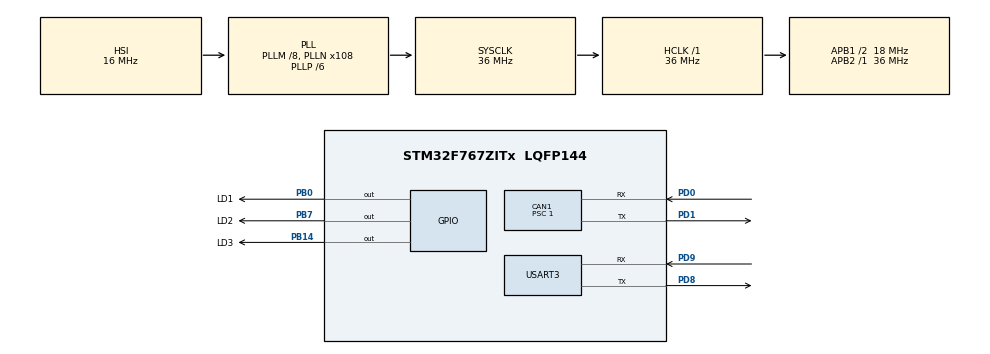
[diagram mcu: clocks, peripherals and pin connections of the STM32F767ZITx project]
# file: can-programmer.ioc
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CAN1.BS1=CAN_BS1_15TQ
CAN1.BS2=CAN_BS2_2TQ
CAN1.CalculateBaudRate=1000000
CAN1.CalculateTimeBit=999.99
CAN1.CalculateTimeQuantum=55.55555555555556
CAN1.Mode=CAN_MODE_NORMAL
CAN1.NART=DISABLE
CAN1.Prescaler=1
Mcu.Family=STM32F7
Mcu.Name=STM32F767ZITx
Mcu.Package=LQFP144
NVIC.CAN1_RX0_IRQn=true\:0\:0\:false\:false\:true\:true\:true
NVIC.CAN1_RX1_IRQn=true\:0\:0\:false\:false\:true\:true\:true
NVIC.CAN1_SCE_IRQn=true\:0\:0\:false\:false\:true\:true\:true
NVIC.CAN1_TX_IRQn=true\:0\:0\:false\:false\:true\:true\:true
NVIC.PriorityGroup=NVIC_PRIORITYGROUP_4
NVIC.TIM6_DAC_IRQn=true\:0\:0\:false\:false\:true\:true\:true
PB0.GPIO_Label=LD1
PB0.Signal=GPIO_Output
PB14.GPIO_Label=LD3
PB14.Signal=GPIO_Output
PB7.GPIO_Label=LD2
PB7.Signal=GPIO_Output
PD0.Mode=CAN_Activate
PD0.Signal=CAN1_RX
PD1.Mode=CAN_Activate
PD1.Signal=CAN1_TX
PD8.Mode=Asynchronous
PD8.Signal=USART3_TX
PD9.Mode=Asynchronous
PD9.Signal=USART3_RX
ProjectManager.HeapSize=0x200
ProjectManager.StackSize=0x400
ProjectManager.TargetToolchain=Makefile
RCC.AHBFreq_Value=36000000
RCC.APB1CLKDivider=RCC_HCLK_DIV2
RCC.APB1Freq_Value=18000000
RCC.APB1TimFreq_Value=36000000
RCC.APB2Freq_Value=36000000
RCC.APB2TimFreq_Value=36000000
RCC.CortexFreq_Value=36000000
RCC.HCLKFreq_Value=36000000
RCC.HSE_VALUE=25000000
RCC.HSI_VALUE=16000000
RCC.LSE_VALUE=32768
RCC.PLLM=8
RCC.PLLN=108
RCC.PLLP=RCC_PLLP_DIV6
RCC.SYSCLKFreq_VALUE=36000000
RCC.SYSCLKSource=RCC_SYSCLKSOURCE_PLLCLK
RCC.UART4CLockSelection=RCC_UART4CLKSOURCE_HSI
RCC.USBFreq_Value=108000000
RCC.VCOOutputFreq_Value=216000000
TIM6.Period=1000
TIM6.Prescaler=36000
USART3.VirtualMode-Asynchronous=VM_ASYNC
VP_TIM6_VS_ClockSourceINT.Mode=Enable_Timer
board=custom

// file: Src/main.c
/* USER CODE BEGIN Header */
/**
  ******************************************************************************
  * @file           : main.c
  * @brief          : Main program body
  ******************************************************************************
  * @attention
  *
  * <h2><center>&copy; Copyright (c) 2021 STMicroelectronics.
  * All rights reserved.</center></h2>
  *
  * This software component is licensed by ST under BSD 3-Clause license,
  * the "License"; You may not use this file except in compliance with the
  * License. You may obtain a copy of the License at:
  *                        opensource.org/licenses/BSD-3-Clause
  *
  ******************************************************************************
  */
/* USER CODE END Header */
#include "main.h"
#include "can.h"
#include "tim.h"
#include "usart.h"
#include "gpio.h"

/* USER CODE BEGIN Includes */
#include "string.h"
#include "stdio.h"
#include "time.h"
/* USER CODE END Includes */

/* USER CODE BEGIN PV */

uint8_t can_msg_data[8];

/* CAN programming parameters */
const uint16_t PROG_MSG_ID = 0x101;
const uint32_t PROG_FREQ_HZ = 1;
const uint32_t PROG_TIME_SEC = 10;
const uint8_t PROG_CONSTANT_MSB = 0x75;
const uint8_t PROG_CONSTANT_LSB = 0x30;
const uint8_t NEW_BASE_ID_MSB = 0x01;
const uint8_t NEW_BASE_ID_LSB = 0x01;

/* Constants for IMU programming */
const uint8_t IMU_GYRO_245DPS = 1;
const uint8_t IMU_GYRO_500DPS = 2;
const uint8_t IMU_GYRO_2000DPS = 3;

const uint8_t IMU_ACCEL_2G = 1;
const uint8_t IMU_ACCEL_4G = 2;
const uint8_t IMU_ACCEL_8G = 3;
const uint8_t IMU_ACCEL_16G = 4;

const uint8_t IMU_FREQ_10HZ = 1;
const uint8_t IMU_FREQ_50HZ = 2;
const uint8_t IMU_FREQ_120HZ = 3;
const uint8_t IMU_FREQ_240HZ = 4;
const uint8_t IMU_FREQ_480HZ = 5;

const uint8_t IMU_BITRATE_1MBPS = 1;
const uint8_t IMU_BITRATE_500KBPS = 2;
const uint8_t IMU_BITRATE_250KBPS = 3;
const uint8_t IMU_BITRATE_100KBPS = 4;

/* Constants for IMU programming */
const uint8_t IRTS_EMISSIVITY = 30; /* 1..100 = 0.01..1.00 */

const uint8_t IRTS_FREQ_1HZ = 1;
const uint8_t IRTS_FREQ_2HZ = 2;
const uint8_t IRTS_FREQ_4HZ = 3;
const uint8_t IRTS_FREQ_8HZ = 4;
const uint8_t IRTS_FREQ_16HZ = 5;
const uint8_t IRTS_FREQ_32HZ = 6;
const uint8_t IRTS_FREQ_64HZ = 7;
const uint8_t IRTS_FREQ_100HZ = 8;

const uint8_t IRTS_CHANNELS_4 = 40;
const uint8_t IRTS_CHANNELS_8 = 80;
const uint8_t IRTS_CHANNELS_16 = 160;

const uint8_t IRTS_LAST_BYTE = 0x00;

/* Define the programming message here */
uint8_t can_msg_data[8] = {
  PROG_CONSTANT_MSB,
  PROG_CONSTANT_LSB,
  NEW_BASE_ID_MSB,
  NEW_BASE_ID_LSB,

  IRTS_EMISSIVITY,
  IRTS_FREQ_2HZ,
  IRTS_CHANNELS_4,
  IRTS_LAST_BYTE
};

/* USER CODE END PV */

void SystemClock_Config(void);

/* USER CODE BEGIN 0 */

void serial_print(char * txt) {
    char buf[80] = "[MAIN] ";
    strncat(buf, txt, 80-strlen(buf)-1);
    HAL_UART_Transmit(&huart3, (uint8_t *)buf, strlen(buf), 500);
}

/* USER CODE END 0 */

int main(void)
{

  /* MCU Configuration--------------------------------------------------------*/

  /* Reset of all peripherals, Initializes the Flash interface and the Systick. */
  HAL_Init();

  /* Configure the system clock */
  SystemClock_Config();

  /* Initialize all configured peripherals */
  MX_GPIO_Init();
  MX_CAN1_Init();
  MX_USART3_UART_Init();
  MX_TIM6_Init();

  /* Infinite loop */
  /* USER CODE BEGIN WHILE */

  serial_print("Initialized\r\n");

  if (PROG_FREQ_HZ != 1) {
    serial_print("Programming is only supported at 1Hz frequency as of now.\r\n");
    return -1;
  }

  /* Print the packet contents to serial console */
  serial_print("CAN packet:\r\n");
  for (int i = 0; i < 8; i++) {
    char line[80];
    snprintf(line, 79, "  Byte %d: HEX 0x%02x (DEC %03d)\r\n", i+1, can_msg_data[i], can_msg_data[i]);
    serial_print(line);
  }

  /* Start the timer */
  HAL_TIM_Base_Start_IT(&htim6);

  while (1)
  {
    HAL_GPIO_TogglePin(LD1_GPIO_Port, LD1_Pin);
    HAL_Delay(100);

    /* USER CODE END WHILE */

  }
}

/* Timer callback at 1Hz */
void HAL_TIM_PeriodElapsedCallback(TIM_HandleTypeDef *htim)
{
  static uint32_t elapsed_seconds = 0;

  if (elapsed_seconds < PROG_TIME_SEC) {
    HAL_GPIO_WritePin(LD3_GPIO_Port, LD3_Pin, SET);
    can_send(PROG_MSG_ID, can_msg_data);
    elapsed_seconds++;
    HAL_GPIO_WritePin(LD3_GPIO_Port, LD3_Pin, RESET);

    char msg[80];
    snprintf(msg, 79, "Programming: %ld%%\r\n", elapsed_seconds*100/PROG_TIME_SEC);
    serial_print(msg);
  }

  if (elapsed_seconds == PROG_TIME_SEC) {
    serial_print("Programming compelte. You may now unplug the\r\n");
    serial_print("sensor and reset it (disconnect power for >5 seconds).\r\n");
    elapsed_seconds++;
  }
}

void SystemClock_Config(void)
{
  RCC_OscInitTypeDef RCC_OscInitStruct = {0};
  RCC_ClkInitTypeDef RCC_ClkInitStruct = {0};
  RCC_PeriphCLKInitTypeDef PeriphClkInitStruct = {0};

  /** Configure the main internal regulator output voltage
  */
  __HAL_RCC_PWR_CLK_ENABLE();
  __HAL_PWR_VOLTAGESCALING_CONFIG(PWR_REGULATOR_VOLTAGE_SCALE3);
  /** Initializes the RCC Oscillators according to the specified parameters
  * in the RCC_OscInitTypeDef structure.
  */
  RCC_OscInitStruct.OscillatorType = RCC_OSCILLATORTYPE_HSI;
  RCC_OscInitStruct.HSIState = RCC_HSI_ON;
  RCC_OscInitStruct.HSICalibrationValue = RCC_HSICALIBRATION_DEFAULT;
  RCC_OscInitStruct.PLL.PLLState = RCC_PLL_ON;
  RCC_OscInitStruct.PLL.PLLSource = RCC_PLLSOURCE_HSI;
  RCC_OscInitStruct.PLL.PLLM = 8;
  RCC_OscInitStruct.PLL.PLLN = 108;
  RCC_OscInitStruct.PLL.PLLP = RCC_PLLP_DIV6;
  RCC_OscInitStruct.PLL.PLLQ = 2;
  if (HAL_RCC_OscConfig(&RCC_OscInitStruct) != HAL_OK)
  {
    Error_Handler();
  }
  /** Initializes the CPU, AHB and APB buses clocks
  */
  RCC_ClkInitStruct.ClockType = RCC_CLOCKTYPE_HCLK|RCC_CLOCKTYPE_SYSCLK
                              |RCC_CLOCKTYPE_PCLK1|RCC_CLOCKTYPE_PCLK2;
  RCC_ClkInitStruct.SYSCLKSource = RCC_SYSCLKSOURCE_PLLCLK;
  RCC_ClkInitStruct.AHBCLKDivider = RCC_SYSCLK_DIV1;
  RCC_ClkInitStruct.APB1CLKDivider = RCC_HCLK_DIV2;
  RCC_ClkInitStruct.APB2CLKDivider = RCC_HCLK_DIV1;

  if (HAL_RCC_ClockConfig(&RCC_ClkInitStruct, FLASH_LATENCY_1) != HAL_OK)
  {
    Error_Handler();
  }
  PeriphClkInitStruct.PeriphClockSelection = RCC_PERIPHCLK_USART3;
  PeriphClkInitStruct.Usart3ClockSelection = RCC_USART3CLKSOURCE_PCLK1;
  if (HAL_RCCEx_PeriphCLKConfig(&PeriphClkInitStruct) != HAL_OK)
  {
    Error_Handler();
  }
}

void Error_Handler(void)
{
  __disable_irq();
  while (1)
  {
  }
}

/************************ (C) COPYRIGHT STMicroelectronics *****END OF FILE****/
